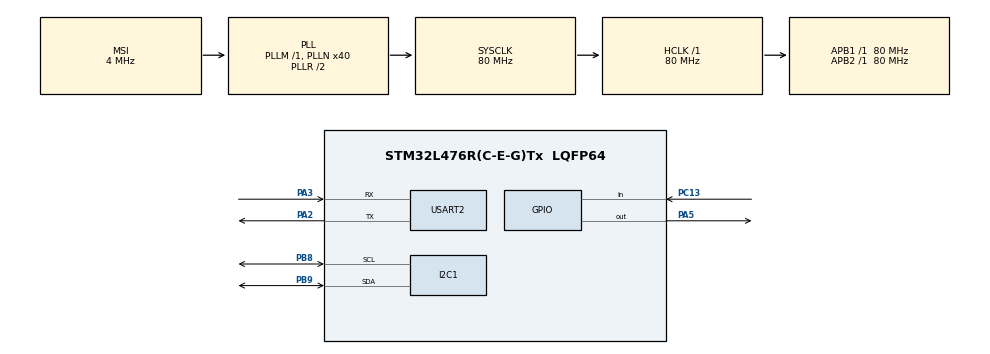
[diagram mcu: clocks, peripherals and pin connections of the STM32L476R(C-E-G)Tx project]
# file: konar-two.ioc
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Dma.Request0=USART2_TX
Dma.USART2_TX.0.Direction=DMA_MEMORY_TO_PERIPH
Dma.USART2_TX.0.Instance=DMA1_Channel7
Dma.USART2_TX.0.MemDataAlignment=DMA_MDATAALIGN_BYTE
Dma.USART2_TX.0.MemInc=DMA_MINC_ENABLE
Dma.USART2_TX.0.Mode=DMA_NORMAL
Dma.USART2_TX.0.PeriphDataAlignment=DMA_PDATAALIGN_BYTE
Dma.USART2_TX.0.PeriphInc=DMA_PINC_DISABLE
Dma.USART2_TX.0.Priority=DMA_PRIORITY_LOW
FREERTOS.INCLUDE_vTaskDelayUntil=1
FREERTOS.Tasks01=default_task,0,128,Default_task,Default,NULL,Dynamic,NULL,NULL
FREERTOS.configTICK_RATE_HZ=143
FREERTOS.configUSE_NEWLIB_REENTRANT=1
I2C1.Timing=0x10909CEC
Mcu.Family=STM32L4
Mcu.Name=STM32L476R(C-E-G)Tx
Mcu.Package=LQFP64
NVIC.DMA1_Channel7_IRQn=true\:5\:0\:false\:false\:true\:true\:false\:true\:true
NVIC.PriorityGroup=NVIC_PRIORITYGROUP_4
NVIC.USART2_IRQn=true\:5\:0\:false\:false\:true\:true\:true\:true\:true
PA2.Mode=Asynchronous
PA2.Signal=USART2_TX
PA3.Mode=Asynchronous
PA3.Signal=USART2_RX
PA5.Signal=GPIO_Output
PB8.Mode=I2C
PB8.Signal=I2C1_SCL
PB9.Mode=I2C
PB9.Signal=I2C1_SDA
PC13.Signal=GPIO_Input
ProjectManager.HeapSize=0x200
ProjectManager.StackSize=0x400
ProjectManager.TargetToolchain=STM32CubeIDE
RCC.ADCFreq_Value=16000000
RCC.AHBFreq_Value=80000000
RCC.APB1Freq_Value=80000000
RCC.APB1TimFreq_Value=80000000
RCC.APB2Freq_Value=80000000
RCC.APB2TimFreq_Value=80000000
RCC.CortexFreq_Value=80000000
RCC.HCLKFreq_Value=80000000
RCC.HSE_VALUE=8000000
RCC.HSI_VALUE=16000000
RCC.LSE_VALUE=32768
RCC.MSI_VALUE=4000000
RCC.PLLN=40
RCC.PREFETCH_ENABLE=1
RCC.SYSCLKFreq_VALUE=80000000
RCC.SYSCLKSource=RCC_SYSCLKSOURCE_PLLCLK
RCC.USBFreq_Value=16000000
RCC.VCOOutputFreq_Value=160000000
USART2.VirtualMode-Asynchronous=VM_ASYNC
VP_FREERTOS_VS_CMSIS_V1.Mode=CMSIS_V1
board=NUCLEO-L476RG

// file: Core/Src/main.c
/* USER CODE BEGIN Header */
/**
  ******************************************************************************
  * @file           : main.c
  * @brief          : Main program body
  ******************************************************************************
  * @attention
  *
  * Copyright (c) 2024 STMicroelectronics.
  * All rights reserved.
  *
  * This software is licensed under terms that can be found in the LICENSE file
  * in the root directory of this software component.
  * If no LICENSE file comes with this software, it is provided AS-IS.
  *
  ******************************************************************************
  */
/* USER CODE END Header */
#include "main.h"
#include "cmsis_os.h"

/* USER CODE BEGIN Includes */
#include "string.h"
#include "stdbool.h"
#include "semphr.h"
/* USER CODE END Includes */

I2C_HandleTypeDef hi2c1;

UART_HandleTypeDef huart2;
DMA_HandleTypeDef hdma_usart2_tx;

osThreadId default_taskHandle;

void SystemClock_Config(void);
static void MX_GPIO_Init(void);
static void MX_DMA_Init(void);
static void MX_USART2_UART_Init(void);
static void MX_I2C1_Init(void);
void Default_task(void const * argument);

/* USER CODE BEGIN 0 */
#define MPU6050_WHO_AM_I 0x75
#define MPU6050_ADDR 0xD0

float accel_vals[3];

void read_accel_values(){

	uint8_t Rec_Data[6];
	HAL_I2C_Mem_Read (&hi2c1, MPU6050_ADDR, 0x3B, 1, Rec_Data, 6, 1000);

	uint8_t Accel_X_RAW = (int16_t)(Rec_Data[0] << 8 | Rec_Data [1]);
	uint8_t Accel_Y_RAW = (int16_t)(Rec_Data[2] << 8 | Rec_Data [3]);
	uint8_t Accel_Z_RAW = (int16_t)(Rec_Data[4] << 8 | Rec_Data [5]);

	accel_vals[0] = Accel_X_RAW/16384.0;
	accel_vals[1] = Accel_Y_RAW/16384.0;
	accel_vals[2] = Accel_Z_RAW/16384.0;

}

float* get_accel_values(){
	read_accel_values();
	return accel_vals;
}

float gyro_vals[3];

void read_gyro_values(){

	uint8_t Rec_Data[6];
	HAL_I2C_Mem_Read (&hi2c1, MPU6050_ADDR, 0x43, 1, Rec_Data, 6, 100);

	uint8_t Gyro_X_RAW = (int16_t)(Rec_Data[0] << 8 | Rec_Data [1]);
	uint8_t Gyro_Y_RAW = (int16_t)(Rec_Data[2] << 8 | Rec_Data [3]);
	uint8_t Gyro_Z_RAW = (int16_t)(Rec_Data[4] << 8 | Rec_Data [5]);

		/*** convert the RAW values into dps (°/s)
		     we have to divide according to the Full scale value set in FS_SEL
		     I have configured FS_SEL = 0. So I am dividing by 131.0
		     for more details check GYRO_CONFIG Register              ****/

	gyro_vals[0] = Gyro_X_RAW/131.0;
	gyro_vals[1] = Gyro_Y_RAW/131.0;
	gyro_vals[2] = Gyro_Z_RAW/131.0;
}

float* get_gyro_values(){
	read_gyro_values();
	return gyro_vals;
}

uint8_t counter = 0;
bool clicked = false;

void button_sensor_out(){
	while(1){

		char buffer[256];
//
//
//		if(!HAL_GPIO_ReadPin(GPIOC, GPIO_PIN_13)){
//			if(clicked == false){
//				clicked = true;
//
//				sprintf(buffer, "Wcisnięto przycisk");
//
//				//HAL_UART_Transmit(&huart2, "\r\nHELLO UART\r\n", sizeof(buffer)-1,10);
//			}
//		}
//		else{
//			clicked = false;
//		}

		float* gyro_values = get_gyro_values();
		float* accel_values = get_accel_values();

		sprintf(buffer, "\r\nWartości żyroskopu: x: %f y: %f, z: %f \r\nWartości akcelerometru: x: %f y: %f, z: %f \r\n", gyro_values[0], gyro_values[1], gyro_values[2], accel_values[0], accel_values[1], accel_values[2]);

		HAL_UART_Transmit(&huart2, buffer, sizeof(buffer),10);

		//HAL_UART_Transmit(&huart2, "a", sizeof("a")-1,10);

		vTaskDelayUntil(xTaskGetTickCount(), 11);
	}
}

void blink(){
	HAL_GPIO_TogglePin(GPIOA, GPIO_PIN_5);

	vTaskDelayUntil(xTaskGetTickCount(), 11);
}

/* USER CODE END 0 */

int main(void)
{

  /* MCU Configuration--------------------------------------------------------*/

  /* Reset of all peripherals, Initializes the Flash interface and the Systick. */
  HAL_Init();

  /* Configure the system clock */
  SystemClock_Config();

  /* Initialize all configured peripherals */
  MX_GPIO_Init();
  MX_DMA_Init();
  MX_USART2_UART_Init();
  MX_I2C1_Init();
  /* USER CODE BEGIN 2 */
  uint8_t check = 0;
  uint8_t Data = 0;

  HAL_I2C_Mem_Read (&hi2c1, MPU6050_ADDR, 0x75, 1, &check, 1, 1000);

  if(check == 104){
	  HAL_I2C_Mem_Write(&hi2c1, MPU6050_ADDR, 0x6B, 1, &Data, 1, 1000);
	  HAL_UART_Transmit(&huart2, (uint8_t*)"Czujnik śmiga\r\n", strlen("Czujnik śmiga\r\n"), 10000);

	  Data = 0x07;
	  HAL_I2C_Mem_Write(&hi2c1, MPU6050_ADDR, 0x19, 1,&Data, 1, 1000);
	  HAL_I2C_Mem_Write(&hi2c1, MPU6050_ADDR, 0x1B, 1,0x00, 1, 1000);
	  HAL_I2C_Mem_Write(&hi2c1, MPU6050_ADDR, 0x1C, 1,0x00, 1, 1000);

  }

  /* USER CODE END 2 */

  /* Create the thread(s) */
  /* definition and creation of default_task */
  osThreadDef(default_task, Default_task, osPriorityNormal, 0, 128);
  default_taskHandle = osThreadCreate(osThread(default_task), NULL);

  /* USER CODE BEGIN RTOS_THREADS */
  xTaskCreate(button_sensor_out,"sensor_button_out",512,NULL, 1,NULL);
  xTaskCreate(blink,"blink",512,NULL, 1,NULL);

  /* USER CODE END RTOS_THREADS */

  /* Start scheduler */
  osKernelStart();

  /* We should never get here as control is now taken by the scheduler */
  /* Infinite loop */
  while (1)
  {

  }
}

void SystemClock_Config(void)
{
  RCC_OscInitTypeDef RCC_OscInitStruct = {0};
  RCC_ClkInitTypeDef RCC_ClkInitStruct = {0};

  /** Configure the main internal regulator output voltage
  */
  if (HAL_PWREx_ControlVoltageScaling(PWR_REGULATOR_VOLTAGE_SCALE1) != HAL_OK)
  {
    Error_Handler();
  }

  /** Initializes the RCC Oscillators according to the specified parameters
  * in the RCC_OscInitTypeDef structure.
  */
  RCC_OscInitStruct.OscillatorType = RCC_OSCILLATORTYPE_MSI;
  RCC_OscInitStruct.MSIState = RCC_MSI_ON;
  RCC_OscInitStruct.MSICalibrationValue = 0;
  RCC_OscInitStruct.MSIClockRange = RCC_MSIRANGE_6;
  RCC_OscInitStruct.PLL.PLLState = RCC_PLL_ON;
  RCC_OscInitStruct.PLL.PLLSource = RCC_PLLSOURCE_MSI;
  RCC_OscInitStruct.PLL.PLLM = 1;
  RCC_OscInitStruct.PLL.PLLN = 40;
  RCC_OscInitStruct.PLL.PLLP = RCC_PLLP_DIV7;
  RCC_OscInitStruct.PLL.PLLQ = RCC_PLLQ_DIV2;
  RCC_OscInitStruct.PLL.PLLR = RCC_PLLR_DIV2;
  if (HAL_RCC_OscConfig(&RCC_OscInitStruct) != HAL_OK)
  {
    Error_Handler();
  }

  /** Initializes the CPU, AHB and APB buses clocks
  */
  RCC_ClkInitStruct.ClockType = RCC_CLOCKTYPE_HCLK|RCC_CLOCKTYPE_SYSCLK
                              |RCC_CLOCKTYPE_PCLK1|RCC_CLOCKTYPE_PCLK2;
  RCC_ClkInitStruct.SYSCLKSource = RCC_SYSCLKSOURCE_PLLCLK;
  RCC_ClkInitStruct.AHBCLKDivider = RCC_SYSCLK_DIV1;
  RCC_ClkInitStruct.APB1CLKDivider = RCC_HCLK_DIV1;
  RCC_ClkInitStruct.APB2CLKDivider = RCC_HCLK_DIV1;

  if (HAL_RCC_ClockConfig(&RCC_ClkInitStruct, FLASH_LATENCY_4) != HAL_OK)
  {
    Error_Handler();
  }
}

static void MX_I2C1_Init(void)
{

  hi2c1.Instance = I2C1;
  hi2c1.Init.Timing = 0x10909CEC;
  hi2c1.Init.OwnAddress1 = 0;
  hi2c1.Init.AddressingMode = I2C_ADDRESSINGMODE_7BIT;
  hi2c1.Init.DualAddressMode = I2C_DUALADDRESS_DISABLE;
  hi2c1.Init.OwnAddress2 = 0;
  hi2c1.Init.OwnAddress2Masks = I2C_OA2_NOMASK;
  hi2c1.Init.GeneralCallMode = I2C_GENERALCALL_DISABLE;
  hi2c1.Init.NoStretchMode = I2C_NOSTRETCH_DISABLE;
  if (HAL_I2C_Init(&hi2c1) != HAL_OK)
  {
    Error_Handler();
  }

  /** Configure Analogue filter
  */
  if (HAL_I2CEx_ConfigAnalogFilter(&hi2c1, I2C_ANALOGFILTER_ENABLE) != HAL_OK)
  {
    Error_Handler();
  }

  /** Configure Digital filter
  */
  if (HAL_I2CEx_ConfigDigitalFilter(&hi2c1, 0) != HAL_OK)
  {
    Error_Handler();
  }

}

static void MX_USART2_UART_Init(void)
{

  huart2.Instance = USART2;
  huart2.Init.BaudRate = 115200;
  huart2.Init.WordLength = UART_WORDLENGTH_8B;
  huart2.Init.StopBits = UART_STOPBITS_1;
  huart2.Init.Parity = UART_PARITY_NONE;
  huart2.Init.Mode = UART_MODE_TX_RX;
  huart2.Init.HwFlowCtl = UART_HWCONTROL_NONE;
  huart2.Init.OverSampling = UART_OVERSAMPLING_16;
  huart2.Init.OneBitSampling = UART_ONE_BIT_SAMPLE_DISABLE;
  huart2.AdvancedInit.AdvFeatureInit = UART_ADVFEATURE_NO_INIT;
  if (HAL_UART_Init(&huart2) != HAL_OK)
  {
    Error_Handler();
  }

}

static void MX_DMA_Init(void)
{

  /* DMA controller clock enable */
  __HAL_RCC_DMA1_CLK_ENABLE();

  /* DMA interrupt init */
  /* DMA1_Channel7_IRQn interrupt configuration */
  HAL_NVIC_SetPriority(DMA1_Channel7_IRQn, 5, 0);
  HAL_NVIC_EnableIRQ(DMA1_Channel7_IRQn);

}

static void MX_GPIO_Init(void)
{
  GPIO_InitTypeDef GPIO_InitStruct = {0};

  /* GPIO Ports Clock Enable */
  __HAL_RCC_GPIOC_CLK_ENABLE();
  __HAL_RCC_GPIOA_CLK_ENABLE();
  __HAL_RCC_GPIOB_CLK_ENABLE();

  /*Configure GPIO pin Output Level */
  HAL_GPIO_WritePin(GPIOA, GPIO_PIN_5, GPIO_PIN_RESET);

  /*Configure GPIO pin : PC13 */
  GPIO_InitStruct.Pin = GPIO_PIN_13;
  GPIO_InitStruct.Mode = GPIO_MODE_INPUT;
  GPIO_InitStruct.Pull = GPIO_NOPULL;
  HAL_GPIO_Init(GPIOC, &GPIO_InitStruct);

  /*Configure GPIO pin : PA5 */
  GPIO_InitStruct.Pin = GPIO_PIN_5;
  GPIO_InitStruct.Mode = GPIO_MODE_OUTPUT_PP;
  GPIO_InitStruct.Pull = GPIO_NOPULL;
  GPIO_InitStruct.Speed = GPIO_SPEED_FREQ_LOW;
  HAL_GPIO_Init(GPIOA, &GPIO_InitStruct);

}

void Default_task(void const * argument)
{
  for(;;)
  {
    osDelay(1);
  }
}

void Error_Handler(void)
{
  __disable_irq();
  while (1)
  {
  }
}
